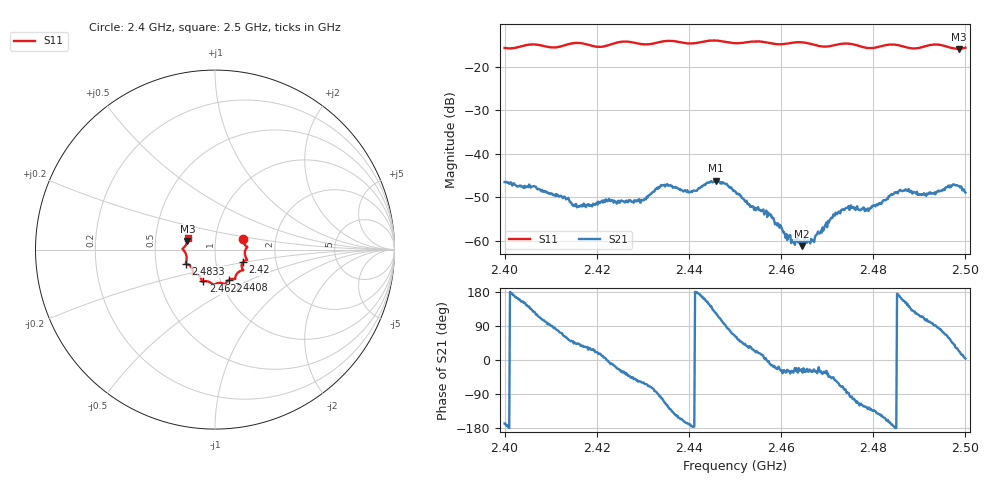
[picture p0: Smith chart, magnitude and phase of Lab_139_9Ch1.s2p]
# Hz S RI R 50
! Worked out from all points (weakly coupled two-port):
!   601 points, 2.4 GHz to 2.5 GHz, reference 50 ohm
!   highest |S21| = -46.12 dB at 2.4458 GHz (marker M1); lowest = -61.2 dB at 2.4645 GHz (marker M2)
!   lowest |S11| = -15.9 dB at 2.4987 GHz (marker M3), VSWR 1.38, Z = 36.5 + j3.47 ohm
!   |S11| at or under -10 dB: start of sweep to end of sweep
!   S12 and S22 are empty: the file has one direction only
!   S11 on the Smith chart (normalised r, x): 2.4 GHz: 1.35, +0.16; 2.42 GHz: 1.35, -0.20; 2.4408 GHz: 1.09, -0.39; 2.4622 GHz: 0.83, -0.30; 2.4833 GHz: 0.71, -0.12; 2.5 GHz: 0.73, +0.10
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2.4e9  0.154 0.0592  -0.00463 -0.00104  0 0  0 0
2.406333e9  0.1805 0.0146  -0.00261 0.00339  0 0  0 0
2.416667e9  0.178 -0.057  0.00203 0.0016  0 0  0 0
2.42e9  0.155 -0.0708  0.00258 0.00098  0 0  0 0
2.429833e9  0.1342 -0.1231  0.0015 -0.00253  0 0  0 0
2.433333e9  0.1132 -0.1537  1.78e-05 -0.00399  0 0  0 0
2.4355e9  0.1124 -0.1641  -0.00246 -0.00352  0 0  0 0
2.440833e9  0.0764 -0.1698  -0.00374 -0.000242  0 0  0 0
2.445833e9  0.0535 -0.1935  -0.00275 0.00411  0 0  0 0
2.45e9  0.0251 -0.1852  0.00169 0.00331  0 0  0 0
2.453667e9  -0.00408 -0.195  0.00217 0.0012  0 0  0 0
2.457667e9  -0.0221 -0.1858  0.00193 -0.000384  0 0  0 0
2.462167e9  -0.0644 -0.1769  0.000824 -0.000463  0 0  0 0
2.4645e9  -0.0726 -0.1771  0.000795 -0.000354  0 0  0 0
2.466667e9  -0.075 -0.1661  0.00088 -0.000543  0 0  0 0
2.4735e9  -0.1236 -0.1376  0.000682 -0.00221  0 0  0 0
2.478667e9  -0.1277 -0.1044  -0.00135 -0.0018  0 0  0 0
2.483333e9  -0.1616 -0.0789  -0.00314 -0.000913  0 0  0 0
2.486e9  -0.1609 -0.0682  -0.00367 0.00105  0 0  0 0
2.491e9  -0.1706 -0.00926  -0.00124 0.00331  0 0  0 0
2.498667e9  -0.1538 0.0462  0.00392 0.00163  0 0  0 0
2.5e9  -0.1527 0.0655  0.0036 0.000234  0 0  0 0
